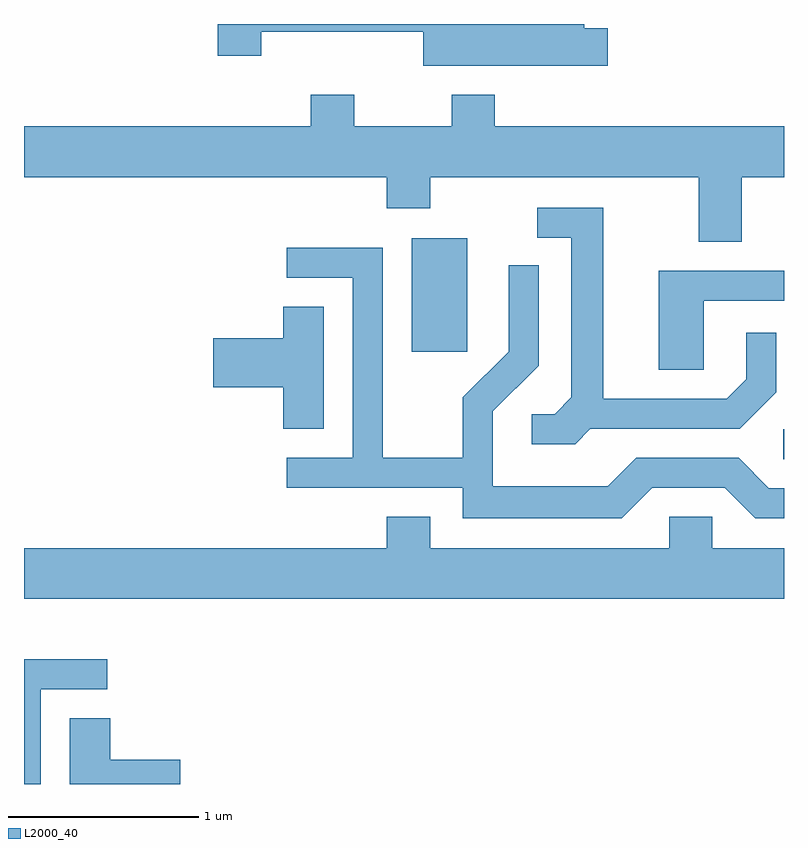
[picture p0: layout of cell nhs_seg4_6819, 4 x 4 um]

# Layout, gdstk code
import gdstk
lib = gdstk.Library(unit=1e-6, precision=1e-09)
def R(c, l, rs):  # rectangles x0, y0, x1, y1
    for r in rs: c.add(gdstk.rectangle(r[:2], r[2:], *l))
def P(c, l, *ps):  # polygons
    for p in ps: c.add(gdstk.Polygon(p, *l))
L2000_40 = (2000, 40)

nhs_seg4_6819 = lib.new_cell('nhs_seg4_6819')
R(nhs_seg4_6819, L2000_40, [(389.608,1297.691,389.611,1297.849), (387.651,1298.256,387.944,1298.854)])
P(nhs_seg4_6819, L2000_40, [(388.684,1299.959),(388.559,1299.959),(388.559,1299.982),(386.631,1299.982),(386.631,1299.816),(386.859,1299.816),(386.859,1299.941),(387.711,1299.941),(387.711,1299.761),(388.684,1299.761)],
  [(389.389,1299.176),(389.611,1299.176),(389.611,1299.444),(388.089,1299.444),(388.089,1299.609),(387.861,1299.609),(387.861,1299.444),(387.349,1299.444),(387.349,1299.609),(387.121,1299.609),(387.121,1299.444),(385.611,1299.444),(385.611,1299.176),(387.521,1299.176),(387.521,1299.011),(387.749,1299.011),(387.749,1299.176),(389.161,1299.176),(389.161,1298.836),(389.389,1298.836)],
  [(388.592,1297.851),(389.377,1297.851),(389.569,1298.044),(389.569,1298.358),(389.411,1298.358),(389.411,1298.112),(389.309,1298.009),(388.659,1298.009),(388.659,1299.014),(388.313,1299.014),(388.313,1298.856),(388.491,1298.856),(388.491,1298.017),(388.404,1297.929),(388.283,1297.929),(388.283,1297.771),(388.512,1297.771)],
  [(388.917,1297.541),(389.299,1297.541),(389.459,1297.381),(389.611,1297.381),(389.611,1297.539),(389.532,1297.539),(389.372,1297.699),(388.834,1297.699),(388.684,1297.549),(388.079,1297.549),(388.079,1297.944),(388.319,1298.184),(388.319,1298.713),(388.161,1298.713),(388.161,1298.257),(387.921,1298.017),(387.921,1297.699),(387.499,1297.699),(387.499,1298.804),(386.993,1298.804),(386.993,1298.646),(387.341,1298.646),(387.341,1297.699),(386.993,1297.699),(386.993,1297.541),(387.921,1297.541),(387.921,1297.381),(388.757,1297.381)],
  [(389.189,1298.526),(389.611,1298.526),(389.611,1298.684),(388.951,1298.684),(388.951,1298.161),(389.189,1298.161)],
  [(387.189,1298.494),(386.976,1298.494),(386.976,1298.329),(386.606,1298.329),(386.606,1298.071),(386.976,1298.071),(386.976,1297.851),(387.189,1297.851)],
  [(389.611,1297.224),(389.234,1297.224),(389.234,1297.389),(389.006,1297.389),(389.006,1297.224),(387.749,1297.224),(387.749,1297.389),(387.521,1297.389),(387.521,1297.224),(385.611,1297.224),(385.611,1296.956),(389.611,1296.956)],
  [(385.699,1296.481),(386.048,1296.481),(386.048,1296.639),(385.611,1296.639),(385.611,1295.982),(385.699,1295.982)],
  [(386.434,1296.109),(386.064,1296.109),(386.064,1296.329),(385.851,1296.329),(385.851,1295.982),(386.434,1295.982)])

lib.write_gds('nhs_seg4_6819.gds')
